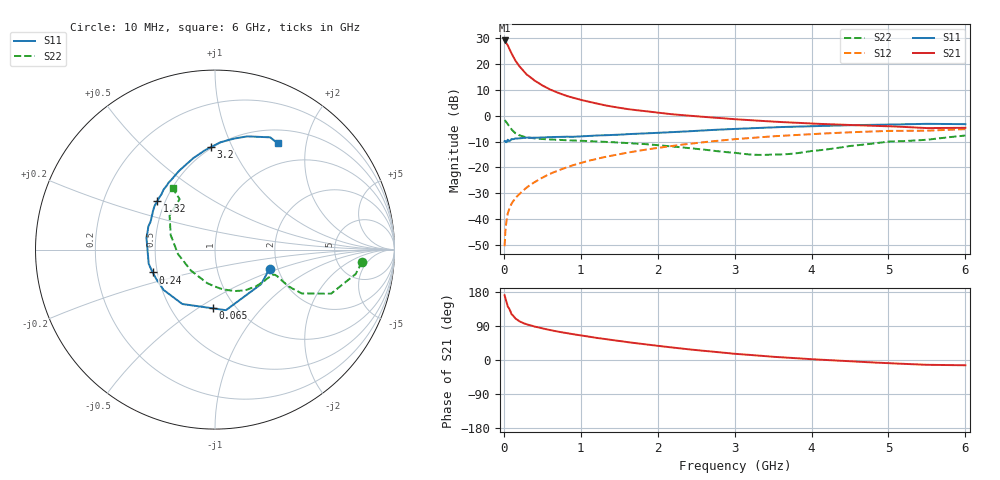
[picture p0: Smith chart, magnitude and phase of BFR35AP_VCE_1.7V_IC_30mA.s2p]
! Infineon Technologies  Discrete & RF Semiconductors
! BFR35AP
! VCE =  1.7 V,  IC =  30 mA
! Common Emitter S-Parameters:  Nov 2015
# GHz  S  MA  R  50
!  f  S11  S21  S12  S22
! GHz  MAG  ANG  MAG  ANG  MAG  ANG  MAG  ANG
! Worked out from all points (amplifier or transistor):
!   210 points, 10 MHz to 6 GHz, reference 50 ohm
!   highest |S21| = 29.1 dB at 10 MHz (marker M1)
!   |S21| within 3 dB of that: start of sweep to 68.52 MHz
!   unconditionally stable (mu >= 1): start of sweep to 21.42 MHz; 111.1 MHz to end of sweep
!   at 185 MHz: K = 1.23, MAG = 22.4 dB, |S12| = -30.8 dB
!   at 1.52 GHz: K = 1.44, MAG = 4.9 dB, |S12| = -14.8 dB
!   at 6 GHz: K = 1.11, MAG = -1.8 dB, |S12| = -5.2 dB
!   S11 on the Smith chart (normalised r, x): 10 MHz: 1.81, -0.43; 65 MHz: 0.79, -0.58; 240 MHz: 0.47, -0.14; 1.32 GHz: 0.45, +0.30; 3.2 GHz: 0.49, +0.83; 6 GHz: 0.68, +1.53
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0.01  0.3223 -19.4  28.56 171.0  0.003 79.9  0.8228 -4.8
0.02  0.321 -36.8  27.63 162.4  0.0059 79.2  0.795 -9.9
0.05  0.3431 -79.8  23.14 141.7  0.0127 67.1  0.6917 -20.8
0.065  0.3275 -92.1  20.76 137.0  0.0148 65.0  0.646 -22.3
0.1  0.3536 -121.0  15.99 121.0  0.0199 61.8  0.5415 -26.8
0.15  0.3643 -142.0  11.62 109.3  0.0254 62.3  0.4593 -26.6
0.2  0.3657 -153.1  9.138 102.4  0.0303 64.9  0.42 -25.2
0.24  0.3698 -159.9  7.746 98.7  0.0344 66.4  0.4005 -24.3
0.3  0.3777 -168.0  6.214 93.7  0.0412 68.5  0.3811 -23.3
0.4  0.3752 -177.4  4.772 88.2  0.052 70.4  0.3637 -22.8
0.5  0.3797 176.0  3.854 83.2  0.0633 71.3  0.354 -23.2
0.6  0.3878 170.0  3.225 78.9  0.0751 71.2  0.3476 -24.3
0.7  0.3885 164.8  2.793 74.9  0.0865 71.5  0.3424 -25.8
0.8  0.3933 160.9  2.458 71.3  0.0983 70.7  0.3366 -27.5
1.02  0.3997 151.2  1.998 64.3  0.1244 69.3  0.3271 -31.8
1.32  0.4192 140.1  1.584 55.2  0.1598 66.2  0.3122 -38.8
2.02  0.468 118.9  1.136 36.9  0.2412 57.6  0.268 -58.7
3.1  0.5633 94.1  0.838 15.0  0.3609 41.8  0.1838 -109.4
3.2  0.5713 92.3  0.82 13.4  0.3703 40.2  0.1779 -116.5
4.1  0.6335 78.8  0.696 1.0  0.4498 26.6  0.2145 -179.1
5.1  0.6781 67.6  0.618 -9.3  0.5087 11.4  0.3188 139.3
6  0.6868 59.4  0.584 -13.9  0.5504 1.1  0.4141 124.7
